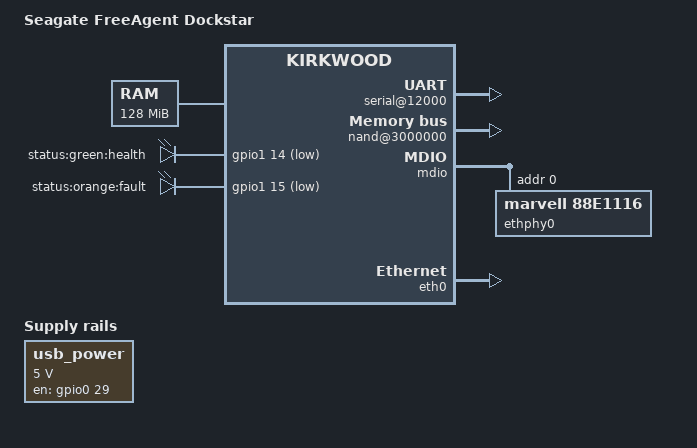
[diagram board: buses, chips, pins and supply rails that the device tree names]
/dts-v1/;

#include "kirkwood.dtsi"
#include "kirkwood-6281.dtsi"

/ {
	model = "Seagate FreeAgent Dockstar";
	compatible = "seagate,dockstar", "marvell,kirkwood-88f6281", "marvell,kirkwood";

	memory {
		device_type = "memory";
		reg = <0x00000000 0x8000000>;
	};

	chosen {
		bootargs = "console=ttyS0,115200n8 earlyprintk root=/dev/sda1 rootdelay=10";
	};

	ocp@f1000000 {
		pinctrl: pinctrl@10000 {
			pmx_usb_power_enable: pmx-usb-power-enable {
				marvell,pins = "mpp29";
				marvell,function = "gpio";
			};
			pmx_led_green: pmx-led-green {
				marvell,pins = "mpp46";
				marvell,function = "gpio";
			};
			pmx_led_orange: pmx-led-orange {
				marvell,pins = "mpp47";
				marvell,function = "gpio";
			};
		};
		serial@12000 {
			status = "ok";
		};

		nand@3000000 {
			status = "okay";

			partition@0 {
				label = "u-boot";
				reg = <0x0000000 0x100000>;
				read-only;
			};

			partition@100000 {
				label = "uImage";
				reg = <0x0100000 0x400000>;
			};

			partition@500000 {
				label = "data";
				reg = <0x0500000 0xfb00000>;
			};
		};
	};
	gpio-leds {
		compatible = "gpio-leds";
		pinctrl-0 = <&pmx_led_green &pmx_led_orange>;
		pinctrl-names = "default";

		health {
			label = "status:green:health";
			gpios = <&gpio1 14 1>;
			linux,default-trigger = "default-on";
		};
		fault {
			label = "status:orange:fault";
			gpios = <&gpio1 15 1>;
		};
	};
	regulators {
		compatible = "simple-bus";
		#address-cells = <1>;
		#size-cells = <0>;
		pinctrl-0 = <&pmx_usb_power_enable>;
		pinctrl-names = "default";

		usb_power: regulator@1 {
			compatible = "regulator-fixed";
			reg = <1>;
			regulator-name = "USB Power";
			regulator-min-microvolt = <5000000>;
			regulator-max-microvolt = <5000000>;
			enable-active-high;
			regulator-always-on;
			regulator-boot-on;
			gpio = <&gpio0 29 0>;
		};
	};
};

&mdio {
	status = "okay";

	ethphy0: ethernet-phy@0 {
		device_type = "ethernet-phy";
		compatible = "marvell,88e1116";
		reg = <0>;
	};
};

&eth0 {
	status = "okay";
	ethernet0-port@0 {
		phy-handle = <&ethphy0>;
	};
};
